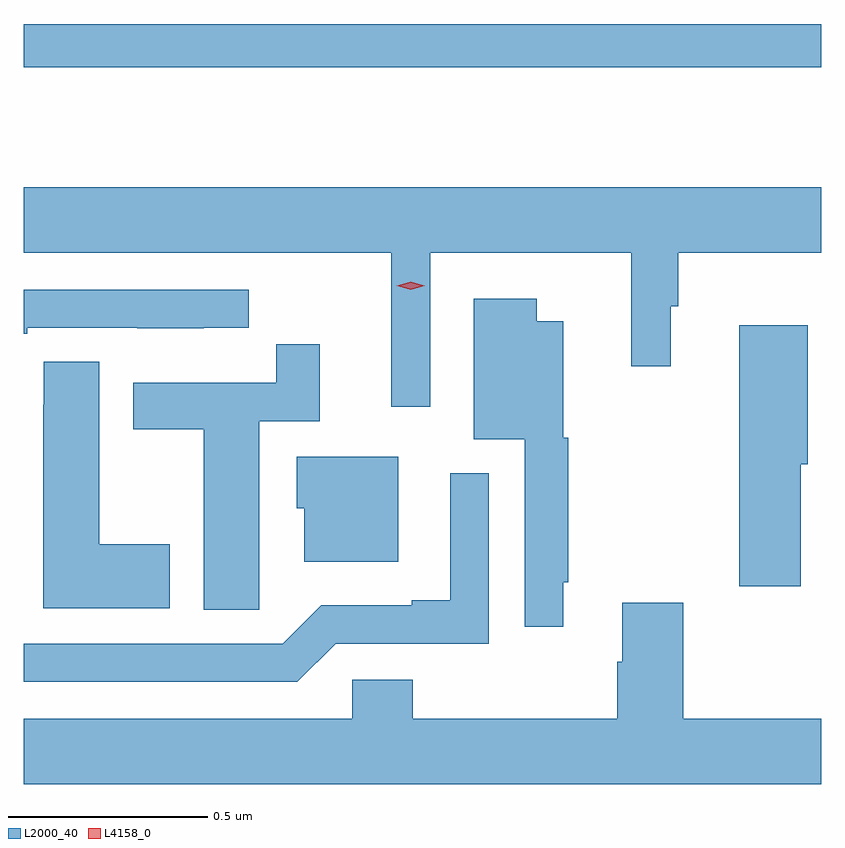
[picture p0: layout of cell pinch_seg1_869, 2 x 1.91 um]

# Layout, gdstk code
import gdstk
lib = gdstk.Library(unit=1e-6, precision=1e-09)
def R(c, l, rs):  # rectangles x0, y0, x1, y1
    for r in rs: c.add(gdstk.rectangle(r[:2], r[2:], *l))
def P(c, l, *ps):  # polygons
    for p in ps: c.add(gdstk.Polygon(p, *l))
L2000_40 = (2000, 40)
L4158_0 = (4158, 0)

pinch_seg1_869 = lib.new_cell('pinch_seg1_869')
R(pinch_seg1_869, L2000_40, [(421.957,518.898,423.957,519.006)])
P(pinch_seg1_869, L2000_40, [(422.976,518.432),(423.481,518.432),(423.481,518.148),(423.58,518.148),(423.58,518.298),(423.599,518.298),(423.599,518.432),(423.957,518.432),(423.957,518.596),(421.957,518.596),(421.957,518.432),(422.879,518.432),(422.879,518.046),(422.976,518.046)],
  [(421.966,518.244),(422.242,518.244),(422.242,518.243),(422.408,518.243),(422.408,518.244),(422.521,518.244),(422.521,518.34),(421.957,518.34),(421.957,518.229),(421.966,518.229)],
  [(423.31,517.606),(423.322,517.606),(423.322,517.968),(423.31,517.968),(423.31,518.26),(423.244,518.26),(423.244,518.317),(423.086,518.317),(423.086,517.964),(423.213,517.964),(423.213,517.494),(423.31,517.494)],
  [(423.905,517.902),(423.923,517.902),(423.923,518.251),(423.752,518.251),(423.752,517.902),(423.751,517.902),(423.751,517.596),(423.905,517.596)],
  [(422.547,517.648),(422.548,517.648),(422.548,518.01),(422.699,518.01),(422.699,518.203),(422.59,518.203),(422.59,518.106),(422.231,518.106),(422.231,517.99),(422.408,517.99),(422.408,517.537),(422.547,517.537)],
  [(422.323,517.701),(422.146,517.701),(422.146,518.159),(422.007,518.159),(422.007,518.051),(422.006,518.051),(422.006,517.541),(422.323,517.541)],
  [(422.896,517.921),(422.642,517.921),(422.642,517.791),(422.66,517.791),(422.66,517.658),(422.896,517.658)],
  [(422.739,517.452),(423.123,517.452),(423.123,517.879),(423.026,517.879),(423.026,517.561),(422.93,517.561),(422.93,517.548),(422.703,517.548),(422.607,517.452),(421.957,517.452),(421.957,517.356),(422.643,517.356)],
  [(423.957,517.264),(423.611,517.264),(423.611,517.555),(423.458,517.555),(423.458,517.406),(423.446,517.406),(423.446,517.264),(422.933,517.264),(422.933,517.362),(422.781,517.362),(422.781,517.264),(421.957,517.264),(421.957,517.1),(423.957,517.1)])
P(pinch_seg1_869, L4158_0, [(422.928,518.34),(422.893,518.349),(422.893,518.35),(422.893,518.35),(422.928,518.359),(422.963,518.35),(422.963,518.35),(422.963,518.349)])

lib.write_gds('pinch_seg1_869.gds')
